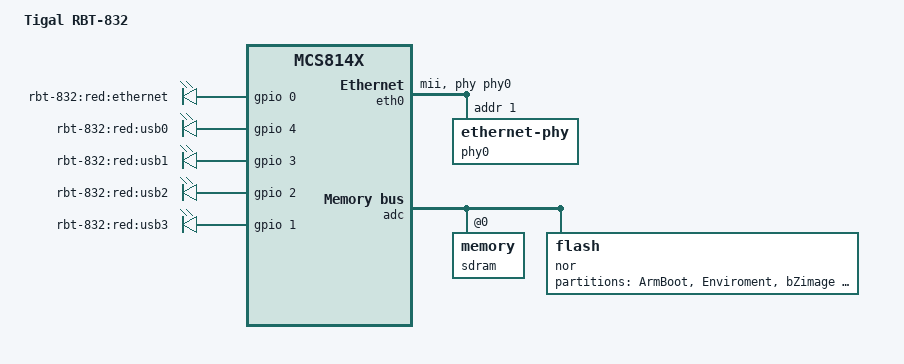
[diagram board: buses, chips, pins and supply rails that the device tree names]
/*
 * rbt-832.dts - Device Tree file for Tigal RBT-832
 *
 * Copyright (C) 2012, Florian Fainelli <florian@openwrt.org>
 *
 * Licensed under GPLv2
 */

/dts-v1/;
#include "mcs8140.dtsi"

/ {
	model = "Tigal RBT-832";
	compatible = "tigal,rbt-832", "moschip,mcs8140", "moschip,mcs814x";

	chosen {
		bootargs = "mem=32M console=ttyS0,115200 earlyprintk";
	};

	ahb {
		vci {
			eth0: ethernet@40084000 {
				nuport-mac,link-activity = <0x01>;
				phy = <&phy0>;
				phy-mode = "mii";

				phy0: ethernet-phy@0 {
					reg = <1>;
				};
			};

			adc {
				sdram: memory@0,0 {
					reg = <0 0 0x2000000>;
				};

				nor: flash@7,0 {

					partition@0 {
						label = "ArmBoot";
						reg = <0 0x40000>;
					};
					partition@30000 {
						label = "Enviroment";
						reg = <0x40000 0x20000>;
					};
					partition@50000 {
						label = "bZimage";
						reg = <0x60000 0x1a0000>;
					};
					partition@150000 {
						label = "UserFS";
						reg = <0x200000 0x600000>;
					};
				};
			};

			leds {
				compatible = "gpio-leds";

				ethernet {
					label = "rbt-832:red:ethernet";
					gpios = <&gpio 0 0>;	// gpio 0 active high
				};

				usb0 {
					label = "rbt-832:red:usb0";
					gpios = <&gpio 4 0>;	// gpio 4 active high
				};

				usb1 {
					label = "rbt-832:red:usb1";
					gpios = <&gpio 3 0>;	// gpio 3 active high
				};

				usb2 {
					label = "rbt-832:red:usb2";
					gpios = <&gpio 2 0>;	// gpio 2 active high
				};

				usb3 {
					label = "rbt-832:red:usb3";
					gpios = <&gpio 1 0>;	// gpio 1 active high
				};
			};
		};
	};
};

